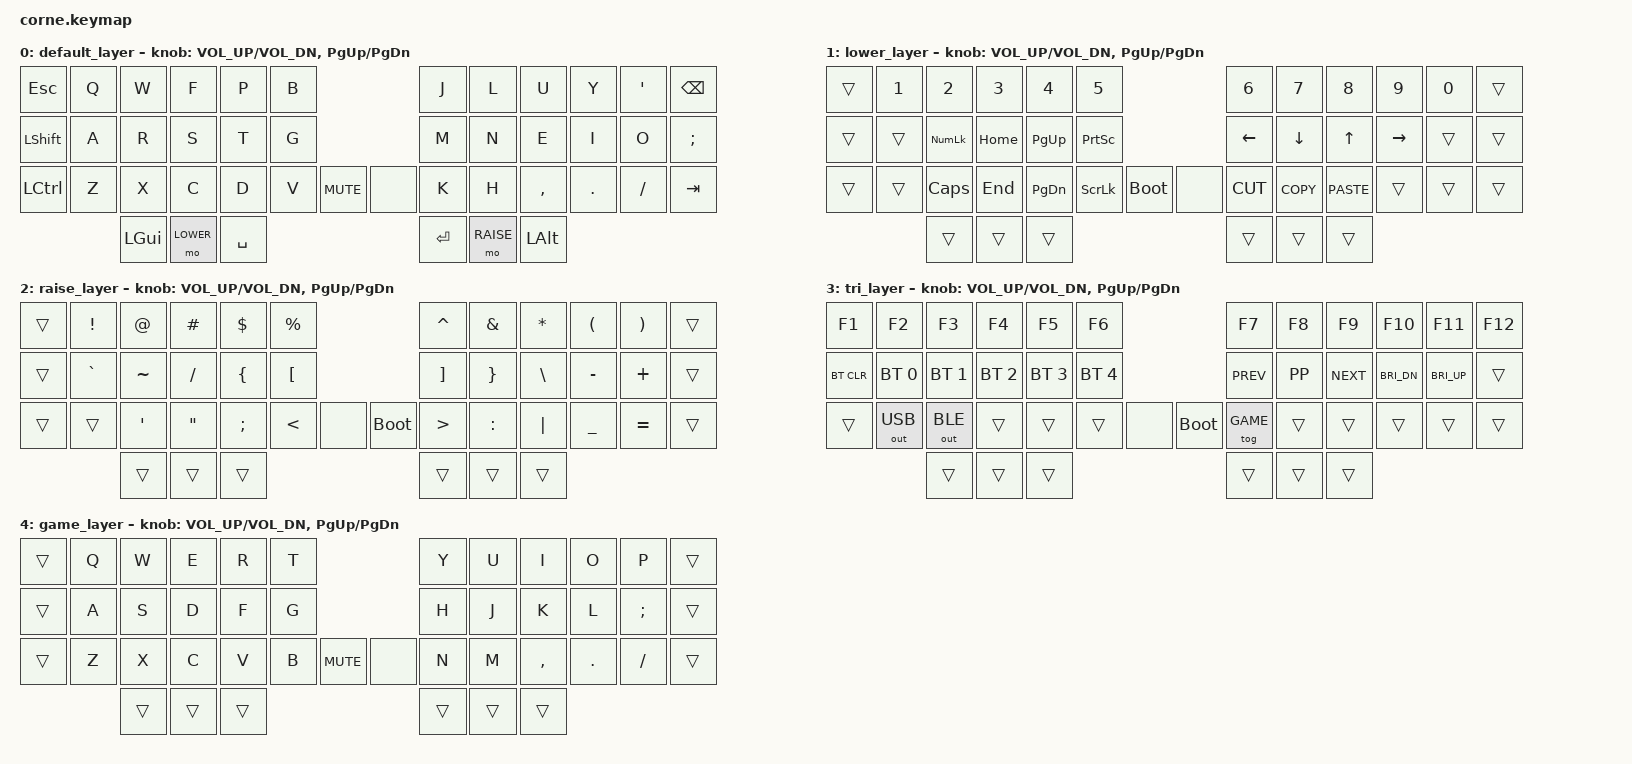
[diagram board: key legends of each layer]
#include <behaviors.dtsi>
#include <dt-bindings/zmk/keys.h>
#include <dt-bindings/zmk/outputs.h>
#include <dt-bindings/zmk/bt.h>

#define BASE 0
#define LOWER 1
#define RAISE 2
#define TRI 3
#define GAME 4

/ {
        combos {
            compatible = "zmk,combos";
            combo_exit_game_layer {
                timeout-ms = <50>;
                layers = <GAME>; // only on game layer
                key-positions = <0 11>; // top left and top right keys
                bindings = <&tog GAME>; // toggle game layer off
            };
        };

        conditional_layers {
            compatible = "zmk,conditional-layers";
            tri_layer {
                if-layers = <LOWER RAISE>;
                then-layer = <TRI>;
            };
        };

        keymap {
                compatible = "zmk,keymap";

                default_layer {
// -------------------------------------------------------------------------------------------------
// | ESC  |  Q  |  W  |  F  |  P  |  B  |                    |  J  |  L  |  U  |  Y  |  '  | BKSP|
// | SHF  |  A  |  R  |  S  |  T  |  G  |                    |  M  |  N  |  E  |  I  |  O  |  ;  |
// | CTRL |  Z  |  X  |  C  |  D  |  V  |  MUTE  |  |        |  K  |  H  |  ,  |  .  |  /  | TAB |
//                    | GUI | LWR | SPC |                    | ENT | RSE | ALT |
                        bindings = <
   &kp ESC    &kp Q &kp W &kp F &kp P &kp B                   &kp J &kp L  &kp U     &kp Y   &kp APOS &kp BSPC
   &kp LSHFT  &kp A &kp R &kp S &kp T &kp G                   &kp M &kp N  &kp E     &kp I   &kp O    &kp SEMI
   &kp LCTRL  &kp Z &kp X &kp C &kp D &kp V &kp C_MUTE  &none &kp K &kp H  &kp COMMA &kp DOT &kp FSLH &kp TAB
                  &kp LGUI &mo LOWER &kp SPACE                &kp RET &mo RAISE &kp LALT
                        >;

                        sensor-bindings = <&inc_dec_kp C_VOL_UP C_VOL_DN &inc_dec_kp PG_UP PG_DN>;
                };

                lower_layer {
// ------------------------------------------------------------------------------------------------
// |     |  1  |  2   |  3   |  4   |  5   |                    |  6  |  7  |  8  |  9  |  0  |     |
// |     |     | NLCK | HOME | PGUP | PRSQ |                    | LFT | DWN | UP  | RGT |     |     |
// |     |     | CLCK | END  | PGDN | SLCK |  boot  |  |        | CUT | CPY | PST |     |     |     |
//                    |      |      |      |                    |     |     |     |
                        bindings = <
   &trans   &kp N1  &kp N2      &kp N3    &kp N4     &kp N5                         &kp N6    &kp N7      &kp N8       &kp N9    &kp N0  &trans
   &trans   &trans  &kp KP_NUM  &kp HOME  &kp PG_UP  &kp PSCRN                      &kp LEFT  &kp DOWN    &kp UP       &kp RIGHT &trans  &trans
   &trans   &trans  &kp CLCK    &kp END   &kp PG_DN  &kp SLCK   &bootloader  &none  &kp K_CUT &kp K_COPY  &kp K_PASTE  &trans    &trans  &trans
                                &trans    &trans     &trans                         &trans    &trans      &trans
                        >;

                        sensor-bindings = <&inc_dec_kp C_VOL_UP C_VOL_DN &inc_dec_kp PG_UP PG_DN>;
                };

                raise_layer {
// ------------------------------------------------------------------------------------------------
// |      |  !  |  @  |  #  |  $  |  %  |                    |  ^  |  &  |  *  |  (  |  )  |     |
// |      |  `  |  ~  |  /  |  {  |  [  |                    |  ]  |  }  |  \  |  -  |  +  |     |
// |      |     |  '  |  "  |  ;  |  <  |        |  |  boot  |  >  |  :  | "|" |  _  |  =  |     |
//                    |     |     |     |                    |     |     |     |
                        bindings = <
   &trans   &kp EXCL  &kp AT    &kp HASH &kp DLLR &kp PRCNT                    &kp CARET &kp AMPS  &kp STAR  &kp LPAR  &kp RPAR  &trans
   &trans   &kp GRAVE &kp TILDE &kp FSLH &kp LBRC &kp LBKT                     &kp RBKT  &kp RBRC  &kp BSLH  &kp MINUS &kp PLUS  &trans
   &trans   &trans    &kp SQT   &kp DQT  &kp SEMI &kp LT    &none  &bootloader &kp GT    &kp COLON &kp PIPE  &kp UNDER &kp EQUAL &trans
                                &trans   &trans   &trans                       &trans    &trans    &trans
                        >;

                        sensor-bindings = <&inc_dec_kp C_VOL_UP C_VOL_DN &inc_dec_kp PG_UP PG_DN>;
                };

                tri_layer {
// ------------------------------------------------------------------------------------------------
// | F1  | F2   | F3   | F4  | F5  | F6  |                    | F7   | F8   |  F9  | F10 | F11 |  F12 |
// |BTCLR| BT1  | BT2  | BT3 | BT4 | BT5 |                    | PREV | PLAY | NEXT | BR- | BR+ |      |
// |     | OUSB | OBLE |     |     |     |        |  |        | GAME |      |      |     |     |      |
//                     |     |     |     |                    |      |      |      |
                        bindings = <
   &kp F1     &kp F2        &kp F3       &kp F4       &kp F5       &kp F6                           &kp F7     &kp F8   &kp F9     &kp F10      &kp F11      &kp F12
   &bt BT_CLR &bt BT_SEL 0  &bt BT_SEL 1 &bt BT_SEL 2 &bt BT_SEL 3 &bt BT_SEL 4                     &kp K_PREV &kp K_PP &kp K_NEXT &kp C_BRI_DN &kp C_BRI_UP &trans
   &trans     &out OUT_USB  &out OUT_BLE &trans       &trans       &trans       &none  &bootloader  &tog GAME  &trans   &trans     &trans       &trans       &trans
                                         &trans       &trans       &trans                           &trans     &trans   &trans
                        >;

                        sensor-bindings = <&inc_dec_kp C_VOL_UP C_VOL_DN &inc_dec_kp PG_UP PG_DN>;
                };

                game_layer {
// qwerty layer for gaming; exit by pressing ESC+BKSP
// ------------------------------------------------------------------------------------------------
// |      |  Q  |  W  |  E  |  R  |  T  |                    |  Y  |  U   |  I  |  O  |  P  |     |
// |      |  A  |  S  |  D  |  F  |  G  |                    |  H  |  J   |  K  |  L  |  ;  |     |
// |      |  Z  |  X  |  C  |  V  |  B  |        |  |        |  N  |  M   |  ,  |  .  |  /  |     |
//                    |     |     |     |                    |     |      |     |
                        bindings = <
   &trans  &kp Q &kp W &kp E &kp R &kp T                      &kp Y &kp U  &kp I     &kp O   &kp P    &trans
   &trans  &kp A &kp S &kp D &kp F &kp G                      &kp H &kp J  &kp K     &kp L   &kp SEMI &trans
   &trans  &kp Z &kp X &kp C &kp V &kp B  &kp C_MUTE   &none  &kp N &kp M  &kp COMMA &kp DOT &kp FSLH &trans
                       &trans  &trans  &trans                 &trans  &trans  &trans
                        >;

                        sensor-bindings = <&inc_dec_kp C_VOL_UP C_VOL_DN &inc_dec_kp PG_UP PG_DN>;
                };
        };
};
